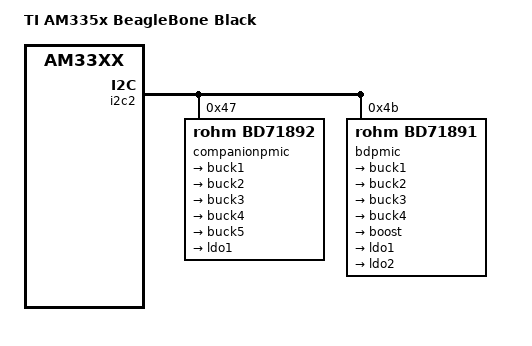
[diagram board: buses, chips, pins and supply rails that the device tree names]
// SPDX-License-Identifier: GPL-2.0-only
/*
 * Copyright (C) 2012 Texas Instruments Incorporated - https://www.ti.com/
 */
/dts-v1/;

#include "am33xx.dtsi"
#include "am335x-bone-common.dtsi"
#include "am335x-boneblack-common.dtsi"

/ {
	model = "TI AM335x BeagleBone Black";
	compatible = "ti,am335x-bone-black", "ti,am335x-bone", "ti,am33xx";
};

/* MVa Added */
&i2c2 {
	companionpmic: companion@47 {
		compatible = "rohm,bd71892";
		reg = <0x47>;
		/* GPIO 1_29 - (connector 8, pin 26) for irq */
/*		interrupt-parent = <&gpio1>; */
/*		interrupts = <29 GPIO_ACTIVE_LOW>; */
/*		interrupts = <29 8>; */

		regulators {
			buck1 {
				regulator-name = "buck1";
/*
				regulator-min-microvolt = <500000>;
				regulator-max-microvolt = <1350000>;
*/
/*				regulator-boot-on; */
/*				regulator-always-on; */
				regulator-ramp-delay = <1250>;
			};
			buck2 {
				regulator-name = "buck2";
/*
				regulator-min-microvolt = <500000>;
				regulator-max-microvolt = <1350000>;
				regulator-always-on;
				regulator-ramp-delay = <1250>;
*/
			};
			buck3 {
				regulator-name = "buck3";
/*
				regulator-min-microvolt = <500000>;
				regulator-max-microvolt = <1350000>;
		//		regulator-boot-on;
				rohm,no-regulator-enable-control;
*/
			};
			buck4 {
				regulator-name = "buck4";
/*
				regulator-min-microvolt = <500000>;
				regulator-max-microvolt = <1850000>;
				regulator-boot-on;
*/
			};
			buck5 {
				regulator-name = "buck5";
			};
			ldo1 {
				regulator-name = "ldo1";
			};
		};
	};
	bdpmic: pmic@4b { /* the "test" defined as child of the i2c1 bus */
		compatible = "rohm,bd71891";
		reg = <0x4b>;
		/* GPIO 1_29 - (connector 8, pin 26) for irq */
/*		interrupt-parent = <&gpio1>; */
/*		interrupts = <29 GPIO_ACTIVE_LOW>; */
/*		interrupts = <29 8>; */
/*		rohm,short-press-ms = <30>;
		rohm,mid-press-ms = <1000>;
		rohm,long-press-ms = <5000>;
*/

		regulators {
			buck1: BUCK1 {
				regulator-name = "buck1";
/*
				regulator-min-microvolt = <500000>;
				regulator-max-microvolt = <1300000>;
*/
/*				regulator-boot-on; */
/*				regulator-always-on; */
/*				regulator-ramp-delay = <1250>; */
			};
			buck2: BUCK2 {
				regulator-name = "buck2";
/*				regulator-min-microvolt = <500000>;
				regulator-max-microvolt = <1300000>;
				regulator-always-on;
				regulator-ramp-delay = <1250>;
*/
			};
			buck3: BUCK3 {
				regulator-name = "buck3";
/*
				regulator-min-microvolt = <500000>;
				regulator-max-microvolt = <1300000>;
		//		regulator-boot-on;
				rohm,no-regulator-enable-control;
*/
			};
			buck4: BUCK4 {
				regulator-name = "buck4";
/*				regulator-min-microvolt = <500000>;
				regulator-max-microvolt = <1300000>;
				regulator-boot-on;
*/
			};
			boost: BOOST {
				regulator-name = "boost";
/*
				regulator-min-microvolt = <300000>;
				regulator-max-microvolt = <1300000>;
				regulator-boot-on;
*/
			};

			ldo1: LDO1 {
				regulator-name = "ldo1";
/*
				regulator-min-microvolt = <1500000>;
				regulator-max-microvolt = <3500000>;
				regulator-boot-on;
*/
			};

			ldo2: LDO2 {
				regulator-name = "ldo2";
/*
				regulator-min-microvolt = <1500000>;
				regulator-max-microvolt = <3500000>;
				regulator-boot-on;
*/
			};
		};
	};
};

&cpu0_opp_table {
	/*
	 * All PG 2.0 silicon may not support 1GHz but some of the early
	 * BeagleBone Blacks have PG 2.0 silicon which is guaranteed
	 * to support 1GHz OPP so enable it for PG 2.0 on this board.
	 */
	oppnitro-1000000000 {
		opp-supported-hw = <0x06 0x0100>;
	};
};

&gpio0 {
	gpio-line-names =
		"[mdio_data]",
		"[mdio_clk]",
		"P9_22 [spi0_sclk]",
		"P9_21 [spi0_d0]",
		"P9_18 [spi0_d1]",
		"P9_17 [spi0_cs0]",
		"[mmc0_cd]",
		"P8_42A [ecappwm0]",
		"P8_35 [lcd d12]",
		"P8_33 [lcd d13]",
		"P8_31 [lcd d14]",
		"P8_32 [lcd d15]",
		"P9_20 [i2c2_sda]",
		"P9_19 [i2c2_scl]",
		"P9_26 [uart1_rxd]",
		"P9_24 [uart1_txd]",
		"[rmii1_txd3]",
		"[rmii1_txd2]",
		"[usb0_drvvbus]",
		"[hdmi cec]",
		"P9_41B",
		"[rmii1_txd1]",
		"P8_19 [ehrpwm2a]",
		"P8_13 [ehrpwm2b]",
		"NC",
		"NC",
		"P8_14",
		"P8_17",
		"[rmii1_txd0]",
		"[rmii1_refclk]",
		"P9_11 [uart4_rxd]",
		"P9_13 [uart4_txd]";
};

&gpio1 {
	gpio-line-names =
		"P8_25 [mmc1_dat0]",
		"[mmc1_dat1]",
		"P8_5 [mmc1_dat2]",
		"P8_6 [mmc1_dat3]",
		"P8_23 [mmc1_dat4]",
		"P8_22 [mmc1_dat5]",
		"P8_3 [mmc1_dat6]",
		"P8_4 [mmc1_dat7]",
		"NC",
		"NC",
		"NC",
		"NC",
		"P8_12",
		"P8_11",
		"P8_16",
		"P8_15",
		"P9_15A",
		"P9_23",
		"P9_14 [ehrpwm1a]",
		"P9_16 [ehrpwm1b]",
		"[emmc rst]",
		"[usr0 led]",
		"[usr1 led]",
		"[usr2 led]",
		"[usr3 led]",
		"[hdmi irq]",
		"[usb vbus oc]",
		"[hdmi audio]",
		"P9_12",
		"P8_26",
		"P8_21 [emmc]",
		"P8_20 [emmc]";
};

&gpio2 {
	gpio-line-names =
		"P9_15B",
		"P8_18",
		"P8_7",
		"P8_8",
		"P8_10",
		"P8_9",
		"P8_45 [hdmi]",
		"P8_46 [hdmi]",
		"P8_43 [hdmi]",
		"P8_44 [hdmi]",
		"P8_41 [hdmi]",
		"P8_42 [hdmi]",
		"P8_39 [hdmi]",
		"P8_40 [hdmi]",
		"P8_37 [hdmi]",
		"P8_38 [hdmi]",
		"P8_36 [hdmi]",
		"P8_34 [hdmi]",
		"[rmii1_rxd3]",
		"[rmii1_rxd2]",
		"[rmii1_rxd1]",
		"[rmii1_rxd0]",
		"P8_27 [hdmi]",
		"P8_29 [hdmi]",
		"P8_28 [hdmi]",
		"P8_30 [hdmi]",
		"[mmc0_dat3]",
		"[mmc0_dat2]",
		"[mmc0_dat1]",
		"[mmc0_dat0]",
		"[mmc0_clk]",
		"[mmc0_cmd]";
};

&gpio3 {
	gpio-line-names =
		"[mii col]",
		"[mii crs]",
		"[mii rx err]",
		"[mii tx en]",
		"[mii rx dv]",
		"[i2c0 sda]",
		"[i2c0 scl]",
		"[jtag emu0]",
		"[jtag emu1]",
		"[mii tx clk]",
		"[mii rx clk]",
		"NC",
		"NC",
		"[usb vbus en]",
		"P9_31 [spi1_sclk]",
		"P9_29 [spi1_d0]",
		"P9_30 [spi1_d1]",
		"P9_28 [spi1_cs0]",
		"P9_42B [ecappwm0]",
		"P9_27",
		"P9_41A",
		"P9_25",
		"NC",
		"NC",
		"NC",
		"NC",
		"NC",
		"NC",
		"NC",
		"NC",
		"NC",
		"NC";
};
